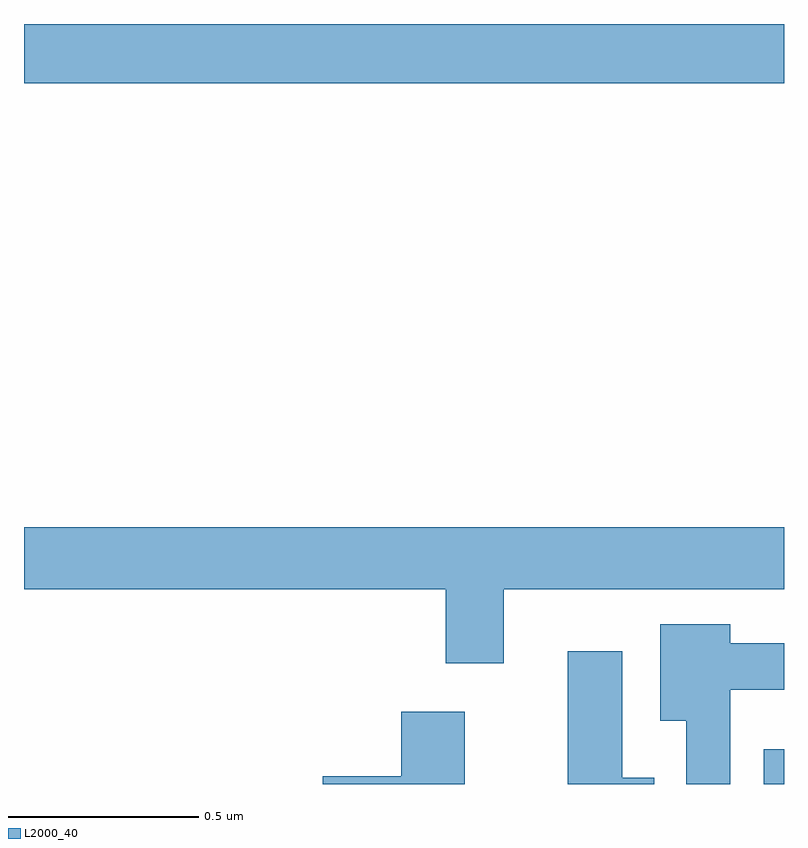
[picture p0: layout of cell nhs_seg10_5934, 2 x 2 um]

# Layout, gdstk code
import gdstk
lib = gdstk.Library(unit=1e-6, precision=1e-09)
def R(c, l, rs):  # rectangles x0, y0, x1, y1
    for r in rs: c.add(gdstk.rectangle(r[:2], r[2:], *l))
def P(c, l, *ps):  # polygons
    for p in ps: c.add(gdstk.Polygon(p, *l))
L2000_40 = (2000, 40)

nhs_seg10_5934 = lib.new_cell('nhs_seg10_5934')
R(nhs_seg10_5934, L2000_40, [(186.947,1270.5,187,1270.591), (185,1272.344,187,1272.5)])
P(nhs_seg10_5934, L2000_40, [(186.262,1271.012),(187,1271.012),(187,1271.176),(185,1271.176),(185,1271.012),(186.11,1271.012),(186.11,1270.818),(186.262,1270.818)],
  [(186.859,1270.748),(187,1270.748),(187,1270.87),(186.859,1270.87),(186.859,1270.921),(186.674,1270.921),(186.674,1270.667),(186.743,1270.667),(186.743,1270.5),(186.859,1270.5)],
  [(186.658,1270.516),(186.574,1270.516),(186.574,1270.849),(186.431,1270.849),(186.431,1270.5),(186.658,1270.5)],
  [(186.16,1270.69),(185.993,1270.69),(185.993,1270.52),(185.786,1270.52),(185.786,1270.5),(186.16,1270.5)])

lib.write_gds('nhs_seg10_5934.gds')
